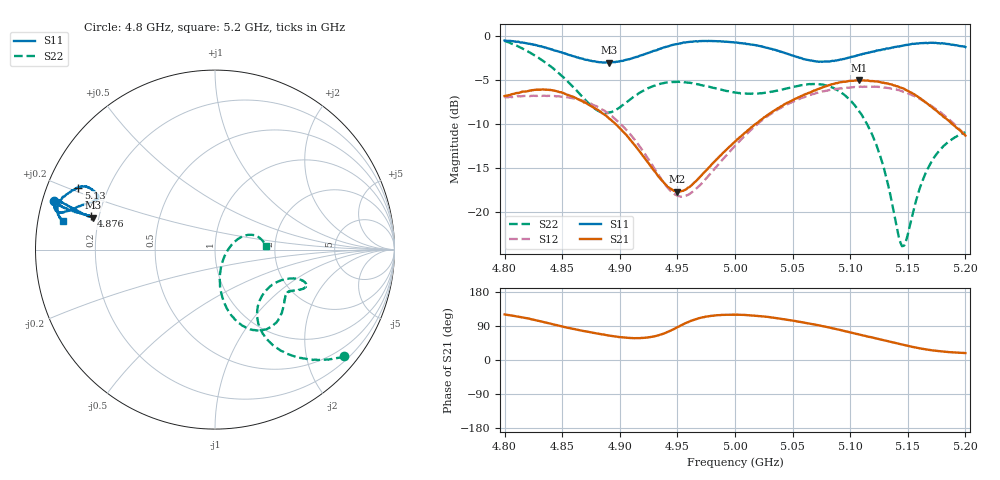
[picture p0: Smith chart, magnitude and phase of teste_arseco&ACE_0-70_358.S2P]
! Network Analyzer HP8722D
! Hewlett-Packard
! Data name: Linha & Wilkinson
! Saver's name: Rodrigo Anjos
! Comments: Teste da utilização de aquisição
! continua pelo VNA HP8722D
! Time and date: 8/5/2025 15:44
!  Frequency  S11  S21  S12  S22
# HZ  S  MA R 50
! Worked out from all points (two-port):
!   401 points, 4.8 GHz to 5.2 GHz, reference 50 ohm
!   highest |S21| = -5.08 dB at 5.108 GHz (marker M1); lowest = -17.7 dB at 4.95 GHz (marker M2)
!   |S21| within 3 dB of the highest: start of sweep to 4.876 GHz; 5.039 GHz to 5.171 GHz (131.2 MHz wide, 2.57 % of centre)
!   lowest |S11| = -3.1 dB at 4.891 GHz (marker M3), VSWR 5.71, Z = 8.9 + j6.21 ohm
!   |S11| at or under -10 dB: nowhere
!   |S22| runs from -23.9 to -0.6 dB; largest |S21 - S12| = 0.73
!   S11 on the Smith chart (normalised r, x): 4.8 GHz: 0.03, +0.15; 4.876 GHz: 0.17, +0.13; 5.13 GHz: 0.09, +0.21; 5.2 GHz: 0.07, +0.09
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4.8e9  0.9391 163.1  0.4543 120.3  0.4459 15.4  0.9334 -39.5
4.831e9  0.8692 164.4  0.4935 102.3  0.4566 5.7  0.7362 -53.6
4.867e9  0.7406 164.9  0.4257 77.5  0.4289 -10.1  0.4541 -58.5
4.876e9  0.7169 164.9  0.3955 72.3  0.4071 -15.3  0.3967 -53.1
4.891e9  0.7019 165.4  0.3374 64.3  0.3582 -24.1  0.3664 -35.9
4.91e9  0.7409 165.0  0.2522 58.1  0.2706 -32.7  0.4394 -21.6
4.934e9  0.838 163.6  0.1574 65.5  0.1609 -29.3  0.5307 -20.0
4.95e9  0.8964 162.8  0.1303 86.5  0.1237 -7.9  0.5469 -21.9
4.965e9  0.9292 162.8  0.1476 106.6  0.133 15.7  0.5343 -24.3
5e9  0.9138 166.2  0.2505 119.5  0.2373 37.4  0.4755 -29.3
5.033e9  0.8338 164.7  0.3722 111.8  0.3658 32.4  0.4826 -36.7
5.067e9  0.7206 157.6  0.4824 94.9  0.4655 17.3  0.5315 -51.8
5.088e9  0.7231 155.0  0.5379 81.6  0.4986 5.2  0.4953 -64.8
5.108e9  0.7775 153.9  0.5574 67.3  0.512 -6.9  0.3703 -76.5
5.12e9  0.813 154.4  0.5522 58.8  0.5133 -14.5  0.2654 -81.4
5.13e9  0.8365 155.7  0.5376 51.7  0.508 -21.2  0.1697 -81.0
5.134e9  0.8481 156.4  0.531 48.7  0.5037 -23.7  0.1323 -77.4
5.142e9  0.8669 158.3  0.5135 43.1  0.4928 -29.2  0.07303 -52.0
5.146e9  0.8781 159.3  0.5024 40.2  0.4802 -31.7  0.06413 -23.9
5.169e9  0.9107 164.5  0.4012 26.6  0.4049 -44.7  0.1843 25.1
5.182e9  0.9029 166.8  0.3431 21.9  0.3514 -50.0  0.2393 18.9
5.2e9  0.8619 169.3  0.2712 18.3  0.2715 -54.1  0.2831 4.2
